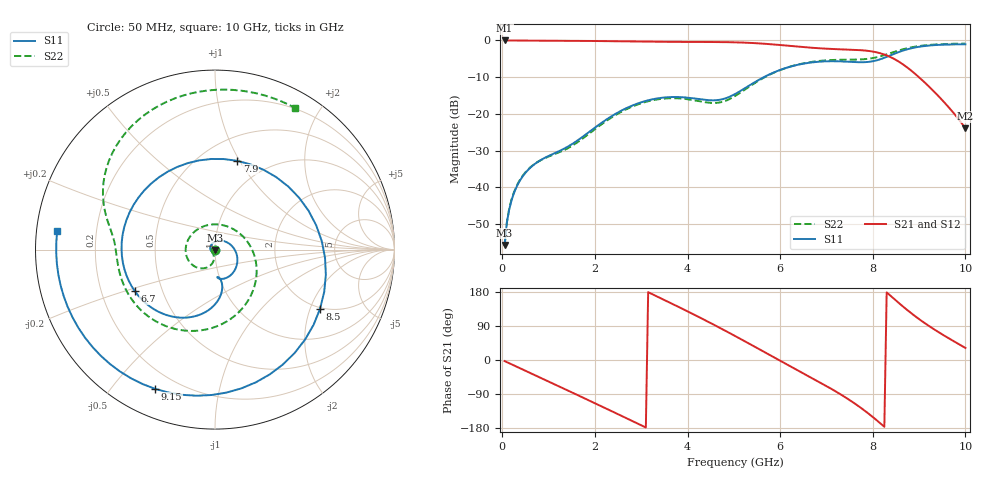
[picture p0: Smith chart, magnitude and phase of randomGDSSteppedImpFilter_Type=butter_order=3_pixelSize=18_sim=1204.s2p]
! freq	dB(S11)	phase(S11)	dB(S12)	phase(S12)
!  dB(S21)	phase(S21)	dB(S22)	phase(S22)
!S-par simulation data
#  GHz  S  DB  R 50
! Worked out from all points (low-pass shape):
!   200 points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, 50 MHz to 10 GHz, reference 50 ohm
!   highest |S21| = 0.00 dB at 50 MHz (marker M1); lowest = -23.9 dB at 10 GHz (marker M2)
!   |S21| within 3 dB of the highest: start of sweep to 7.989 GHz
!   lowest |S11| = -55.7 dB at 50 MHz (marker M3), VSWR 1.00, Z = 50 - j0.159 ohm
!   |S11| at or under -10 dB: start of sweep to 5.648 GHz
!   |S22| runs from -56.0 to -0.9 dB; largest |S21 - S12| = 0
!   S11 on the Smith chart (normalised r, x): 50 MHz: 1.00, -0.00; 6.7 GHz: 0.35, -0.21; 7.9 GHz: 0.73, +0.98; 8.5 GHz: 1.96, -2.35; 9.15 GHz: 0.12, -0.65; 10 GHz: 0.06, +0.06
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0.05  -55.68 -75.4  -0.00 -2.9  -0.00 -2.9  -56.02 -74.2
0.1  -49.50 -89.3  -0.01 -5.7  -0.01 -5.7  -49.41 -83.3
0.2  -43.51 -103.1  -0.02 -11.4  -0.02 -11.4  -43.30 -91.0
0.45  -36.85 -128.9  -0.04 -25.6  -0.04 -25.6  -36.67 -100.7
1.15  -30.59 153.4  -0.08 -65.4  -0.08 -65.4  -30.88 -107.1
1.75  -26.10 76.0  -0.13 -99.7  -0.13 -99.7  -26.58 -96.6
2.65  -18.61 -7.0  -0.24 -151.8  -0.24 -151.8  -18.91 -116.4
3.4  -15.68 -53.6  -0.36 164.2  -0.36 164.2  -15.96 -157.3
4.3  -16.06 -84.9  -0.42 110.0  -0.42 110.0  -16.65 125.7
5.05  -14.43 -78.4  -0.52 61.8  -0.52 61.8  -14.95 19.4
5.45  -11.38 -84.6  -0.73 35.1  -0.73 35.1  -11.61 -27.9
5.85  -8.79 -101.2  -1.09 8.2  -1.09 8.2  -8.86 -64.8
6.7  -5.96 -152.9  -2.01 -48.4  -2.01 -48.4  -5.81 -126.1
7.35  -5.72 151.1  -2.43 -94.1  -2.43 -94.1  -5.25 -162.5
7.9  -5.85 76.0  -2.84 -140.7  -2.84 -140.7  -5.00 175.6
8.1  -5.37 40.7  -3.28 -160.6  -3.28 -160.6  -4.54 169.0
8.35  -4.23 -4.2  -4.34 173.0  -4.34 173.0  -3.59 159.1
8.5  -3.46 -29.4  -5.30 157.0  -5.30 157.0  -2.97 151.5
8.8  -2.23 -72.9  -7.91 126.4  -7.91 126.4  -1.96 133.6
9.15  -1.47 -113.2  -11.78 95.0  -11.78 95.0  -1.30 111.2
9.55  -1.14 -150.3  -16.94 63.8  -16.94 63.8  -0.98 86.6
10  -1.06 173.4  -23.93 31.8  -23.93 31.8  -0.85 60.6
